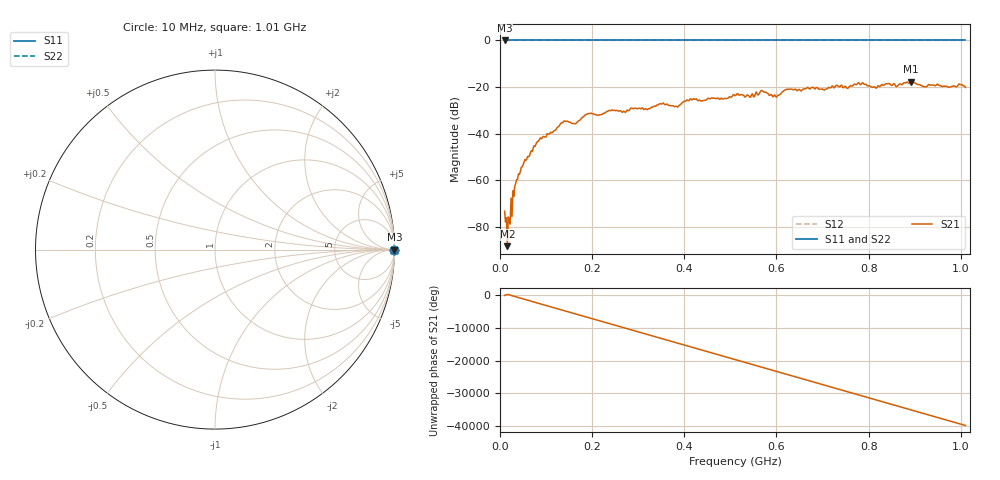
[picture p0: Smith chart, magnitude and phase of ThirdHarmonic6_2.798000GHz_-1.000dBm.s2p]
! 8/17/2025 7:16:37 AM
! C:\ANRITSUVNA\TEMP\TEMP.S2P
! CHANNEL.1
! TR.MEASUREMENT
! RAW.DATA
! RF.CORRECTION.OFF
! AVERAGING.OFF
! IF.BANDWIDTH: 5KHZ
! SWEEPTYPE:  FREQ.SWEEP(Linear)
! Reference Plane Port Info
! PORT:  PORT1  PORT2
! DISTANCE:  0  m  0  m
! TIME:  0  s  0  s
! PHASE.OFFSET:  0  deg.  0  deg.
! LOSS:  0  dB  0  dB
! REF.LOSS:  0  dB  0  dB
! REF.FREQ:  0  Hz  0  Hz
! Power Info
! POWER:  -20  dBm  -20  dBm
! EFF.POWER:  -20  dBm  -20  dBm
! SOURCE.ATTEN:  0  dB  0  dB
! TEST.ATTEN:  0  dB  0  dB
# GHZ S RI R 50.0
! FREQ.GHZ  S11RE  S11IM  S21RE  S21IM  S12RE  S12IM  S22RE  S22IM
!; PortSelection: Port_12
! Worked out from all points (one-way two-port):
!   501 points, 10 MHz to 1.01 GHz, reference 50 ohm
!   highest |S21| = -17.76 dB at 892 MHz (marker M1); lowest = -88.3 dB at 16 MHz (marker M2)
!   lowest |S11| = 0.0 dB at 10 MHz (marker M3)
!   |S11| at or under -10 dB: nowhere
!   |S22| runs from 0.0 to 0.0 dB; largest |S21 - S12| = 1.1
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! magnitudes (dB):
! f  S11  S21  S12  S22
! 10 MHz  0.0  -73.3  0.0  0.0
! 16 MHz  0.0  -88.3  0.0  0.0
! 22 MHz  0.0  -78.9  0.0  0.0
! 32 MHz  0.0  -62.6  0.0  0.0
! 44 MHz  0.0  -56.5  0.0  0.0
! 84 MHz  0.0  -43.0  0.0  0.0
! 136 MHz  0.0  -35.4  0.0  0.0
! 162 MHz  0.0  -35.8  0.0  0.0
! 178 MHz  0.0  -33.1  0.0  0.0
! 194 MHz  0.0  -31.4  0.0  0.0
! 344 MHz  0.0  -27.6  0.0  0.0
! 382 MHz  0.0  -28.2  0.0  0.0
! 416 MHz  0.0  -25.5  0.0  0.0
! 510 MHz  0.0  -23.7  0.0  0.0
! 548 MHz  0.0  -22.9  0.0  0.0
! 570 MHz  0.0  -21.7  0.0  0.0
! 596 MHz  0.0  -23.4  0.0  0.0
! 622 MHz  0.0  -21.0  0.0  0.0
! 678 MHz  0.0  -20.1  0.0  0.0
! 844 MHz  0.0  -18.5  0.0  0.0
! 892 MHz  0.0  -17.8  0.0  0.0
! 1.01 GHz  0.0  -20.1  0.0  0.0
